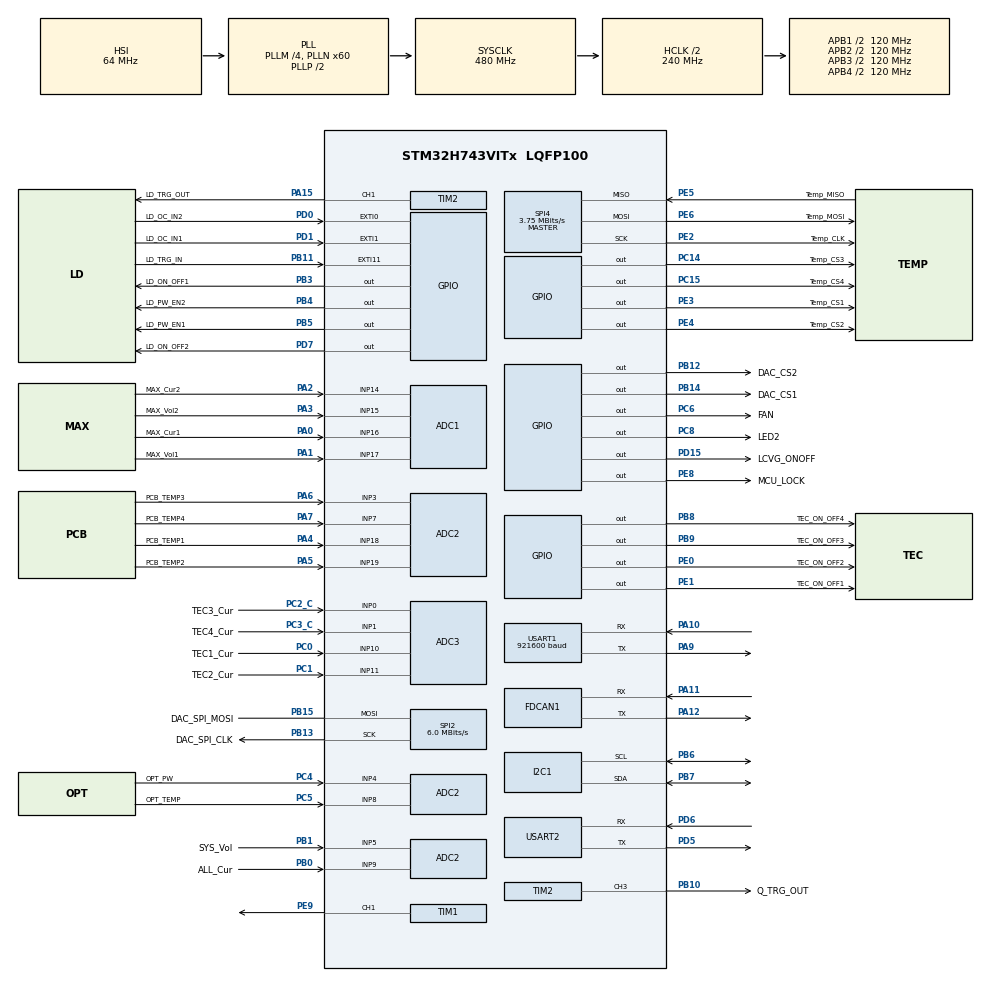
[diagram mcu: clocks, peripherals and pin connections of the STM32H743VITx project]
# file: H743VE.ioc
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ADC1.Channel-3\#ChannelRegularConversion=ADC_CHANNEL_16
ADC1.Channel-4\#ChannelRegularConversion=ADC_CHANNEL_17
ADC1.Channel-5\#ChannelRegularConversion=ADC_CHANNEL_14
ADC1.Channel-6\#ChannelRegularConversion=ADC_CHANNEL_15
ADC1.ClockPrescaler=ADC_CLOCK_ASYNC_DIV64
ADC1.ClockPrescalerADC3=ADC_CLOCK_ASYNC_DIV64
ADC1.ContinuousConvMode=ENABLE
ADC1.ConversionDataManagement=ADC_CONVERSIONDATA_DMA_CIRCULAR
ADC1.NbrOfConversion=4
ADC1.NbrOfConversionFlag=1
ADC1.OffsetNumber-3\#ChannelRegularConversion=ADC_OFFSET_NONE
ADC1.OffsetNumber-4\#ChannelRegularConversion=ADC_OFFSET_NONE
ADC1.OffsetNumber-5\#ChannelRegularConversion=ADC_OFFSET_NONE
ADC1.OffsetNumber-6\#ChannelRegularConversion=ADC_OFFSET_NONE
ADC1.OffsetSignedSaturation-3\#ChannelRegularConversion=DISABLE
ADC1.OffsetSignedSaturation-4\#ChannelRegularConversion=DISABLE
ADC1.OffsetSignedSaturation-5\#ChannelRegularConversion=DISABLE
ADC1.OffsetSignedSaturation-6\#ChannelRegularConversion=DISABLE
ADC1.Overrun=ADC_OVR_DATA_OVERWRITTEN
ADC1.Rank-3\#ChannelRegularConversion=1
ADC1.Rank-4\#ChannelRegularConversion=2
ADC1.Rank-5\#ChannelRegularConversion=3
ADC1.Rank-6\#ChannelRegularConversion=4
ADC1.SamplingTime-3\#ChannelRegularConversion=ADC_SAMPLETIME_387CYCLES_5
ADC1.SamplingTime-4\#ChannelRegularConversion=ADC_SAMPLETIME_387CYCLES_5
ADC1.SamplingTime-5\#ChannelRegularConversion=ADC_SAMPLETIME_387CYCLES_5
ADC1.SamplingTime-6\#ChannelRegularConversion=ADC_SAMPLETIME_387CYCLES_5
ADC1.master=1
ADC2.Channel-0\#ChannelRegularConversion=ADC_CHANNEL_18
ADC2.Channel-1\#ChannelRegularConversion=ADC_CHANNEL_19
ADC2.Channel-2\#ChannelRegularConversion=ADC_CHANNEL_3
ADC2.Channel-3\#ChannelRegularConversion=ADC_CHANNEL_7
ADC2.Channel-4\#ChannelRegularConversion=ADC_CHANNEL_4
ADC2.Channel-5\#ChannelRegularConversion=ADC_CHANNEL_8
ADC2.Channel-6\#ChannelRegularConversion=ADC_CHANNEL_9
ADC2.Channel-7\#ChannelRegularConversion=ADC_CHANNEL_5
ADC2.ClockPrescaler=ADC_CLOCK_ASYNC_DIV64
ADC2.ClockPrescalerADC3=ADC_CLOCK_ASYNC_DIV64
ADC2.ContinuousConvMode=ENABLE
ADC2.ConversionDataManagement=ADC_CONVERSIONDATA_DMA_CIRCULAR
ADC2.NbrOfConversion=8
ADC2.NbrOfConversionFlag=1
ADC2.OffsetNumber-0\#ChannelRegularConversion=ADC_OFFSET_NONE
ADC2.OffsetNumber-1\#ChannelRegularConversion=ADC_OFFSET_NONE
ADC2.OffsetNumber-2\#ChannelRegularConversion=ADC_OFFSET_NONE
ADC2.OffsetNumber-3\#ChannelRegularConversion=ADC_OFFSET_NONE
ADC2.OffsetNumber-4\#ChannelRegularConversion=ADC_OFFSET_NONE
ADC2.OffsetNumber-5\#ChannelRegularConversion=ADC_OFFSET_NONE
ADC2.OffsetNumber-6\#ChannelRegularConversion=ADC_OFFSET_NONE
ADC2.OffsetNumber-7\#ChannelRegularConversion=ADC_OFFSET_NONE
ADC2.OffsetSignedSaturation-0\#ChannelRegularConversion=DISABLE
ADC2.OffsetSignedSaturation-1\#ChannelRegularConversion=DISABLE
ADC2.OffsetSignedSaturation-2\#ChannelRegularConversion=DISABLE
ADC2.OffsetSignedSaturation-3\#ChannelRegularConversion=DISABLE
ADC2.OffsetSignedSaturation-4\#ChannelRegularConversion=DISABLE
ADC2.OffsetSignedSaturation-5\#ChannelRegularConversion=DISABLE
ADC2.OffsetSignedSaturation-6\#ChannelRegularConversion=DISABLE
ADC2.OffsetSignedSaturation-7\#ChannelRegularConversion=DISABLE
ADC2.Overrun=ADC_OVR_DATA_OVERWRITTEN
ADC2.Rank-0\#ChannelRegularConversion=1
ADC2.Rank-1\#ChannelRegularConversion=2
ADC2.Rank-2\#ChannelRegularConversion=3
ADC2.Rank-3\#ChannelRegularConversion=4
ADC2.Rank-4\#ChannelRegularConversion=5
ADC2.Rank-5\#ChannelRegularConversion=6
ADC2.Rank-6\#ChannelRegularConversion=7
ADC2.Rank-7\#ChannelRegularConversion=8
ADC2.SamplingTime-0\#ChannelRegularConversion=ADC_SAMPLETIME_387CYCLES_5
ADC2.SamplingTime-1\#ChannelRegularConversion=ADC_SAMPLETIME_387CYCLES_5
ADC2.SamplingTime-2\#ChannelRegularConversion=ADC_SAMPLETIME_387CYCLES_5
ADC2.SamplingTime-3\#ChannelRegularConversion=ADC_SAMPLETIME_387CYCLES_5
ADC2.SamplingTime-4\#ChannelRegularConversion=ADC_SAMPLETIME_387CYCLES_5
ADC2.SamplingTime-5\#ChannelRegularConversion=ADC_SAMPLETIME_387CYCLES_5
ADC2.SamplingTime-6\#ChannelRegularConversion=ADC_SAMPLETIME_387CYCLES_5
ADC2.SamplingTime-7\#ChannelRegularConversion=ADC_SAMPLETIME_387CYCLES_5
ADC3.Channel-0\#ChannelRegularConversion=ADC_CHANNEL_10
ADC3.Channel-1\#ChannelRegularConversion=ADC_CHANNEL_11
ADC3.Channel-2\#ChannelRegularConversion=ADC_CHANNEL_0
ADC3.Channel-3\#ChannelRegularConversion=ADC_CHANNEL_1
ADC3.ClockPrescaler=ADC_CLOCK_ASYNC_DIV64
ADC3.ClockPrescalerADC3=ADC_CLOCK_ASYNC_DIV64
ADC3.ContinuousConvMode=ENABLE
ADC3.ConversionDataManagement=ADC_CONVERSIONDATA_DMA_CIRCULAR
ADC3.NbrOfConversion=4
ADC3.NbrOfConversionFlag=1
ADC3.OffsetNumber-0\#ChannelRegularConversion=ADC_OFFSET_NONE
ADC3.OffsetNumber-1\#ChannelRegularConversion=ADC_OFFSET_NONE
ADC3.OffsetNumber-2\#ChannelRegularConversion=ADC_OFFSET_NONE
ADC3.OffsetNumber-3\#ChannelRegularConversion=ADC_OFFSET_NONE
ADC3.OffsetSignedSaturation-0\#ChannelRegularConversion=DISABLE
ADC3.OffsetSignedSaturation-1\#ChannelRegularConversion=DISABLE
ADC3.OffsetSignedSaturation-2\#ChannelRegularConversion=DISABLE
ADC3.OffsetSignedSaturation-3\#ChannelRegularConversion=DISABLE
ADC3.Overrun=ADC_OVR_DATA_OVERWRITTEN
ADC3.Rank-0\#ChannelRegularConversion=1
ADC3.Rank-1\#ChannelRegularConversion=2
ADC3.Rank-2\#ChannelRegularConversion=3
ADC3.Rank-3\#ChannelRegularConversion=4
ADC3.SamplingTime-0\#ChannelRegularConversion=ADC_SAMPLETIME_387CYCLES_5
ADC3.SamplingTime-1\#ChannelRegularConversion=ADC_SAMPLETIME_387CYCLES_5
ADC3.SamplingTime-2\#ChannelRegularConversion=ADC_SAMPLETIME_387CYCLES_5
ADC3.SamplingTime-3\#ChannelRegularConversion=ADC_SAMPLETIME_387CYCLES_5
CORTEX_M7.default_mode_Activation=1
Dma.ADC1.0.Direction=DMA_PERIPH_TO_MEMORY
Dma.ADC1.0.EventEnable=DISABLE
Dma.ADC1.0.FIFOMode=DMA_FIFOMODE_DISABLE
Dma.ADC1.0.Instance=DMA1_Stream0
Dma.ADC1.0.MemDataAlignment=DMA_MDATAALIGN_HALFWORD
Dma.ADC1.0.MemInc=DMA_MINC_ENABLE
Dma.ADC1.0.Mode=DMA_CIRCULAR
Dma.ADC1.0.PeriphDataAlignment=DMA_PDATAALIGN_HALFWORD
Dma.ADC1.0.PeriphInc=DMA_PINC_DISABLE
Dma.ADC1.0.Polarity=HAL_DMAMUX_REQ_GEN_RISING
Dma.ADC1.0.Priority=DMA_PRIORITY_LOW
Dma.ADC1.0.RequestNumber=1
Dma.ADC1.0.SignalID=NONE
Dma.ADC1.0.SyncEnable=DISABLE
Dma.ADC1.0.SyncPolarity=HAL_DMAMUX_SYNC_NO_EVENT
Dma.ADC1.0.SyncRequestNumber=1
Dma.ADC1.0.SyncSignalID=NONE
Dma.ADC2.1.Direction=DMA_PERIPH_TO_MEMORY
Dma.ADC2.1.EventEnable=DISABLE
Dma.ADC2.1.FIFOMode=DMA_FIFOMODE_DISABLE
Dma.ADC2.1.Instance=DMA1_Stream1
Dma.ADC2.1.MemDataAlignment=DMA_MDATAALIGN_HALFWORD
Dma.ADC2.1.MemInc=DMA_MINC_ENABLE
Dma.ADC2.1.Mode=DMA_CIRCULAR
Dma.ADC2.1.PeriphDataAlignment=DMA_PDATAALIGN_HALFWORD
Dma.ADC2.1.PeriphInc=DMA_PINC_DISABLE
Dma.ADC2.1.Polarity=HAL_DMAMUX_REQ_GEN_RISING
Dma.ADC2.1.Priority=DMA_PRIORITY_LOW
Dma.ADC2.1.RequestNumber=1
Dma.ADC2.1.SignalID=NONE
Dma.ADC2.1.SyncEnable=DISABLE
Dma.ADC2.1.SyncPolarity=HAL_DMAMUX_SYNC_NO_EVENT
Dma.ADC2.1.SyncRequestNumber=1
Dma.ADC2.1.SyncSignalID=NONE
Dma.ADC3.2.Direction=DMA_PERIPH_TO_MEMORY
Dma.ADC3.2.EventEnable=DISABLE
Dma.ADC3.2.FIFOMode=DMA_FIFOMODE_DISABLE
Dma.ADC3.2.Instance=DMA1_Stream2
Dma.ADC3.2.MemDataAlignment=DMA_MDATAALIGN_HALFWORD
Dma.ADC3.2.MemInc=DMA_MINC_ENABLE
Dma.ADC3.2.Mode=DMA_CIRCULAR
Dma.ADC3.2.PeriphDataAlignment=DMA_PDATAALIGN_HALFWORD
Dma.ADC3.2.PeriphInc=DMA_PINC_DISABLE
Dma.ADC3.2.Polarity=HAL_DMAMUX_REQ_GEN_RISING
Dma.ADC3.2.Priority=DMA_PRIORITY_LOW
Dma.ADC3.2.RequestNumber=1
Dma.ADC3.2.SignalID=NONE
Dma.ADC3.2.SyncEnable=DISABLE
Dma.ADC3.2.SyncPolarity=HAL_DMAMUX_SYNC_NO_EVENT
Dma.ADC3.2.SyncRequestNumber=1
Dma.ADC3.2.SyncSignalID=NONE
Dma.Request0=ADC1
Dma.Request1=ADC2
Dma.Request2=ADC3
Dma.Request3=USART1_RX
Dma.Request4=USART1_TX
Dma.Request5=TIM2_CH1
Dma.Request6=TIM2_CH3
Dma.TIM2_CH1.5.Direction=DMA_MEMORY_TO_PERIPH
Dma.TIM2_CH1.5.EventEnable=DISABLE
Dma.TIM2_CH1.5.FIFOMode=DMA_FIFOMODE_DISABLE
Dma.TIM2_CH1.5.Instance=DMA2_Stream2
Dma.TIM2_CH1.5.MemDataAlignment=DMA_MDATAALIGN_WORD
Dma.TIM2_CH1.5.MemInc=DMA_MINC_ENABLE
Dma.TIM2_CH1.5.Mode=DMA_NORMAL
Dma.TIM2_CH1.5.PeriphDataAlignment=DMA_PDATAALIGN_WORD
Dma.TIM2_CH1.5.PeriphInc=DMA_PINC_DISABLE
Dma.TIM2_CH1.5.Polarity=HAL_DMAMUX_REQ_GEN_RISING
Dma.TIM2_CH1.5.Priority=DMA_PRIORITY_LOW
Dma.TIM2_CH1.5.RequestNumber=1
Dma.TIM2_CH1.5.SignalID=NONE
Dma.TIM2_CH1.5.SyncEnable=DISABLE
Dma.TIM2_CH1.5.SyncPolarity=HAL_DMAMUX_SYNC_NO_EVENT
Dma.TIM2_CH1.5.SyncRequestNumber=1
Dma.TIM2_CH1.5.SyncSignalID=NONE
Dma.TIM2_CH3.6.Direction=DMA_MEMORY_TO_PERIPH
Dma.TIM2_CH3.6.EventEnable=DISABLE
Dma.TIM2_CH3.6.FIFOMode=DMA_FIFOMODE_DISABLE
Dma.TIM2_CH3.6.Instance=DMA2_Stream3
Dma.TIM2_CH3.6.MemDataAlignment=DMA_MDATAALIGN_WORD
Dma.TIM2_CH3.6.MemInc=DMA_MINC_ENABLE
Dma.TIM2_CH3.6.Mode=DMA_NORMAL
Dma.TIM2_CH3.6.PeriphDataAlignment=DMA_PDATAALIGN_WORD
Dma.TIM2_CH3.6.PeriphInc=DMA_PINC_DISABLE
Dma.TIM2_CH3.6.Polarity=HAL_DMAMUX_REQ_GEN_RISING
Dma.TIM2_CH3.6.Priority=DMA_PRIORITY_LOW
Dma.TIM2_CH3.6.RequestNumber=1
Dma.TIM2_CH3.6.SignalID=NONE
Dma.TIM2_CH3.6.SyncEnable=DISABLE
Dma.TIM2_CH3.6.SyncPolarity=HAL_DMAMUX_SYNC_NO_EVENT
Dma.TIM2_CH3.6.SyncRequestNumber=1
Dma.TIM2_CH3.6.SyncSignalID=NONE
Dma.USART1_RX.3.Direction=DMA_PERIPH_TO_MEMORY
Dma.USART1_RX.3.EventEnable=DISABLE
Dma.USART1_RX.3.FIFOMode=DMA_FIFOMODE_DISABLE
Dma.USART1_RX.3.Instance=DMA2_Stream0
Dma.USART1_RX.3.MemDataAlignment=DMA_MDATAALIGN_BYTE
Dma.USART1_RX.3.MemInc=DMA_MINC_ENABLE
Dma.USART1_RX.3.Mode=DMA_NORMAL
Dma.USART1_RX.3.PeriphDataAlignment=DMA_PDATAALIGN_BYTE
Dma.USART1_RX.3.PeriphInc=DMA_PINC_DISABLE
Dma.USART1_RX.3.Polarity=HAL_DMAMUX_REQ_GEN_RISING
Dma.USART1_RX.3.Priority=DMA_PRIORITY_LOW
Dma.USART1_RX.3.RequestNumber=1
Dma.USART1_RX.3.SignalID=NONE
Dma.USART1_RX.3.SyncEnable=DISABLE
Dma.USART1_RX.3.SyncPolarity=HAL_DMAMUX_SYNC_NO_EVENT
Dma.USART1_RX.3.SyncRequestNumber=1
Dma.USART1_RX.3.SyncSignalID=NONE
Dma.USART1_TX.4.Direction=DMA_MEMORY_TO_PERIPH
Dma.USART1_TX.4.EventEnable=DISABLE
Dma.USART1_TX.4.FIFOMode=DMA_FIFOMODE_DISABLE
Dma.USART1_TX.4.Instance=DMA2_Stream1
Dma.USART1_TX.4.MemDataAlignment=DMA_MDATAALIGN_BYTE
Dma.USART1_TX.4.MemInc=DMA_MINC_ENABLE
Dma.USART1_TX.4.Mode=DMA_NORMAL
Dma.USART1_TX.4.PeriphDataAlignment=DMA_PDATAALIGN_BYTE
Dma.USART1_TX.4.PeriphInc=DMA_PINC_DISABLE
Dma.USART1_TX.4.Polarity=HAL_DMAMUX_REQ_GEN_RISING
Dma.USART1_TX.4.Priority=DMA_PRIORITY_LOW
Dma.USART1_TX.4.RequestNumber=1
Dma.USART1_TX.4.SignalID=NONE
Dma.USART1_TX.4.SyncEnable=DISABLE
Dma.USART1_TX.4.SyncPolarity=HAL_DMAMUX_SYNC_NO_EVENT
Dma.USART1_TX.4.SyncRequestNumber=1
Dma.USART1_TX.4.SyncSignalID=NONE
FDCAN1.CalculateBaudRateNominal=125000
FDCAN1.CalculateTimeBitNominal=8000
FDCAN1.CalculateTimeQuantumNominal=250.0
FDCAN1.DataPrescaler=20
FDCAN1.DataSyncJumpWidth=4
FDCAN1.DataTimeSeg1=27
FDCAN1.DataTimeSeg2=4
FDCAN1.NominalPrescaler=20
FDCAN1.NominalSyncJumpWidth=4
FDCAN1.NominalTimeSeg1=27
FDCAN1.NominalTimeSeg2=4
FDCAN1.RxFifo0ElmtsNbr=2
FDCAN1.StdFiltersNbr=1
FDCAN1.TxFifoQueueElmtsNbr=2
FREERTOS.Mutexes01=myMutex01,Dynamic,NULL,Available;myMutex02,Dynamic,NULL,Available
FREERTOS.Tasks01=defaultTask,24,128,StartDefaultTask,Default,NULL,Dynamic,NULL,NULL;myTask02,24,128,StartTask02,Default,NULL,Dynamic,NULL,NULL;myTask03,24,128,StartTask03,Default,NULL,Dynamic,NULL,NULL
I2C1.Speed=50
I2C1.Timing=0x70303AEE
Mcu.Family=STM32H7
Mcu.Name=STM32H743VITx
Mcu.Package=LQFP100
NVIC.ADC3_IRQn=true\:5\:0\:false\:false\:true\:true\:true\:true\:true
NVIC.ADC_IRQn=true\:5\:0\:false\:false\:true\:true\:true\:true\:true
NVIC.DMA1_Stream0_IRQn=true\:5\:0\:false\:false\:true\:true\:false\:true\:true
NVIC.DMA1_Stream1_IRQn=true\:5\:0\:false\:false\:true\:true\:false\:true\:true
NVIC.DMA1_Stream2_IRQn=true\:5\:0\:false\:false\:true\:true\:false\:true\:true
NVIC.DMA2_Stream0_IRQn=true\:5\:0\:false\:false\:true\:false\:false\:true\:true
NVIC.DMA2_Stream1_IRQn=true\:5\:0\:false\:false\:true\:false\:false\:true\:true
NVIC.DMA2_Stream2_IRQn=true\:5\:0\:false\:false\:true\:false\:false\:true\:true
NVIC.DMA2_Stream3_IRQn=true\:5\:0\:false\:false\:true\:false\:false\:true\:true
NVIC.EXTI0_IRQn=true\:5\:0\:false\:false\:true\:true\:true\:true\:true
NVIC.EXTI15_10_IRQn=true\:5\:0\:false\:false\:true\:true\:true\:true\:true
NVIC.EXTI1_IRQn=true\:5\:0\:false\:false\:true\:true\:true\:true\:true
NVIC.FDCAN1_IT0_IRQn=true\:5\:0\:false\:false\:true\:true\:true\:true\:true
NVIC.PriorityGroup=NVIC_PRIORITYGROUP_4
NVIC.TIM2_IRQn=true\:5\:0\:false\:false\:true\:true\:true\:true\:true
NVIC.TIM3_IRQn=true\:5\:0\:false\:false\:true\:true\:true\:true\:true
NVIC.TIM4_IRQn=true\:5\:0\:false\:false\:true\:true\:true\:true\:true
NVIC.TIM6_DAC_IRQn=true\:15\:0\:false\:false\:true\:false\:false\:true\:true
NVIC.TimeBase=TIM6_DAC_IRQn
NVIC.TimeBaseIP=TIM6
NVIC.USART1_IRQn=true\:5\:0\:false\:false\:true\:true\:true\:true\:true
PA0.GPIO_Label=MAX_Cur1
PA0.Mode=IN16-Single-Ended
PA0.Signal=ADC1_INP16
PA1.GPIO_Label=MAX_Vol1
PA1.Mode=IN17-Single-Ended
PA1.Signal=ADC1_INP17
PA10.Mode=Asynchronous
PA10.Signal=USART1_RX
PA11.Mode=FDCAN_Activate
PA11.Signal=FDCAN1_RX
PA12.Mode=FDCAN_Activate
PA12.Signal=FDCAN1_TX
PA13\ (JTMS/SWDIO).Mode=Serial_Wire
PA13\ (JTMS/SWDIO).Signal=DEBUG_JTMS-SWDIO
PA14\ (JTCK/SWCLK).Mode=Serial_Wire
PA14\ (JTCK/SWCLK).Signal=DEBUG_JTCK-SWCLK
PA15\ (JTDI).GPIO_Label=LD_TRG_OUT
PA15\ (JTDI).GPIO_PuPd=GPIO_PULLDOWN
PA15\ (JTDI).GPIO_Speed=GPIO_SPEED_FREQ_HIGH
PA15\ (JTDI).Signal=S_TIM2_CH1_ETR
PA2.GPIO_Label=MAX_Cur2
PA2.Signal=ADCx_INP14
PA3.GPIO_Label=MAX_Vol2
PA3.Signal=ADCx_INP15
PA4.GPIO_Label=PCB_TEMP1
PA4.Signal=ADCx_INP18
PA5.GPIO_Label=PCB_TEMP2
PA5.Signal=ADCx_INP19
PA6.GPIO_Label=PCB_TEMP3
PA6.Signal=ADCx_INP3
PA7.GPIO_Label=PCB_TEMP4
PA7.Signal=ADCx_INP7
PA9.Mode=Asynchronous
PA9.Signal=USART1_TX
PB0.GPIO_Label=ALL_Cur
PB0.Signal=ADCx_INP9
PB1.GPIO_Label=SYS_Vol
PB1.Signal=ADCx_INP5
PB10.GPIO_Label=Q_TRG_OUT
PB10.GPIO_PuPd=GPIO_PULLDOWN
PB10.GPIO_Speed=GPIO_SPEED_FREQ_HIGH
PB10.Signal=S_TIM2_CH3
PB11.GPIO_Label=LD_TRG_IN
PB11.Signal=GPXTI11
PB12.GPIO_Label=DAC_CS2
PB12.Signal=GPIO_Output
PB13.GPIO_Label=DAC_SPI_CLK
PB13.Mode=Simplex_Bidirectional_Master
PB13.Signal=SPI2_SCK
PB14.GPIO_Label=DAC_CS1
PB14.Signal=GPIO_Output
PB15.GPIO_Label=DAC_SPI_MOSI
PB15.Mode=Simplex_Bidirectional_Master
PB15.Signal=SPI2_MOSI
PB3\ (JTDO/TRACESWO).GPIO_Label=LD_ON_OFF1
PB3\ (JTDO/TRACESWO).Signal=GPIO_Output
PB4\ (NJTRST).GPIO_Label=LD_PW_EN2
PB4\ (NJTRST).Signal=GPIO_Output
PB5.GPIO_Label=LD_PW_EN1
PB5.Signal=GPIO_Output
PB6.Mode=I2C
PB6.Signal=I2C1_SCL
PB7.Mode=I2C
PB7.Signal=I2C1_SDA
PB8.GPIO_Label=TEC_ON_OFF4
PB8.Signal=GPIO_Output
PB9.GPIO_Label=TEC_ON_OFF3
PB9.Signal=GPIO_Output
PC0.GPIO_Label=TEC1_Cur
PC0.Signal=ADCx_INP10
PC1.GPIO_Label=TEC2_Cur
PC1.Signal=ADCx_INP11
PC14-OSC32_IN\ (OSC32_IN).GPIO_Label=Temp_CS3
PC14-OSC32_IN\ (OSC32_IN).Signal=GPIO_Output
PC15-OSC32_OUT\ (OSC32_OUT).GPIO_Label=Temp_CS4
PC15-OSC32_OUT\ (OSC32_OUT).Signal=GPIO_Output
PC2_C.GPIO_Label=TEC3_Cur
PC2_C.Mode=IN0-Single-Ended
PC2_C.Signal=ADC3_INP0
PC3_C.GPIO_Label=TEC4_Cur
PC3_C.Mode=IN1-Single-Ended
PC3_C.Signal=ADC3_INP1
PC4.GPIO_Label=OPT_PW
PC4.Signal=ADCx_INP4
PC5.GPIO_Label=OPT_TEMP
PC5.Signal=ADCx_INP8
PC6.GPIO_Label=FAN
PC6.GPIO_PuPd=GPIO_PULLUP
PC6.Signal=GPIO_Output
PC8.GPIO_Label=LED2
PC8.Signal=GPIO_Output
PD0.GPIO_Label=LD_OC_IN2
PD0.Signal=GPXTI0
PD1.GPIO_Label=LD_OC_IN1
PD1.Signal=GPXTI1
PD15.GPIO_Label=LCVG_ONOFF
PD15.Signal=GPIO_Output
PD5.Mode=Asynchronous
PD5.Signal=USART2_TX
PD6.Mode=Asynchronous
PD6.Signal=USART2_RX
PD7.GPIO_Label=LD_ON_OFF2
PD7.Signal=GPIO_Output
PE0.GPIO_Label=TEC_ON_OFF2
PE0.Signal=GPIO_Output
PE1.GPIO_Label=TEC_ON_OFF1
PE1.Signal=GPIO_Output
PE2.GPIO_Label=Temp_CLK
PE2.Mode=Full_Duplex_Master
PE2.Signal=SPI4_SCK
PE3.GPIO_Label=Temp_CS1
PE3.Signal=GPIO_Output
PE4.GPIO_Label=Temp_CS2
PE4.Signal=GPIO_Output
PE5.GPIO_Label=Temp_MISO
PE5.Mode=Full_Duplex_Master
PE5.Signal=SPI4_MISO
PE6.GPIO_Label=Temp_MOSI
PE6.Mode=Full_Duplex_Master
PE6.Signal=SPI4_MOSI
PE8.GPIO_Label=MCU_LOCK
PE8.Signal=GPIO_Output
PE9.Signal=S_TIM1_CH1
PH0-OSC_IN\ (PH0).Mode=HSE-External-Oscillator
PH0-OSC_IN\ (PH0).Signal=RCC_OSC_IN
PH1-OSC_OUT\ (PH1).Mode=HSE-External-Oscillator
PH1-OSC_OUT\ (PH1).Signal=RCC_OSC_OUT
ProjectManager.HeapSize=0x200
ProjectManager.StackSize=0x400
ProjectManager.TargetToolchain=MDK-ARM V5
RCC.ADCFreq_Value=80000000
RCC.APB1Freq_Value=120000000
RCC.APB2Freq_Value=120000000
RCC.APB3Freq_Value=120000000
RCC.APB4Freq_Value=120000000
RCC.CortexFreq_Value=480000000
RCC.D1PPRE=RCC_APB3_DIV2
RCC.D2PPRE1=RCC_APB1_DIV2
RCC.D2PPRE2=RCC_APB2_DIV2
RCC.D3PPRE=RCC_APB4_DIV2
RCC.DIVM1=4
RCC.DIVM2=4
RCC.DIVN1=60
RCC.DIVN2=10
RCC.DIVQ1=5
RCC.FDCANCLockSelection=RCC_FDCANCLKSOURCE_PLL2
RCC.HCLKFreq_Value=240000000
RCC.HPRE=RCC_HCLK_DIV2
RCC.PLL2FRACN=0
RCC.PLL3FRACN=0
RCC.PLLFRACN=0
RCC.SYSCLKFreq_VALUE=480000000
RCC.SYSCLKSource=RCC_SYSCLKSOURCE_PLLCLK
RCC.USBFreq_Value=192000000
SH.ADCx_INP10.0=ADC3_INP10,IN10-Single-Ended
SH.ADCx_INP11.0=ADC3_INP11,IN11-Single-Ended
SH.ADCx_INP14.0=ADC1_INP14,IN14-Single-Ended
SH.ADCx_INP15.0=ADC1_INP15,IN15-Single-Ended
SH.ADCx_INP18.0=ADC2_INP18,IN18-Single-Ended
SH.ADCx_INP19.0=ADC2_INP19,IN19-Single-Ended
SH.ADCx_INP3.0=ADC2_INP3,IN3-Single-Ended
SH.ADCx_INP4.0=ADC2_INP4,IN4-Single-Ended
SH.ADCx_INP5.0=ADC2_INP5,IN5-Single-Ended
SH.ADCx_INP7.0=ADC2_INP7,IN7-Single-Ended
SH.ADCx_INP8.0=ADC2_INP8,IN8-Single-Ended
SH.ADCx_INP9.0=ADC2_INP9,IN9-Single-Ended
SH.S_TIM1_CH1.0=TIM1_CH1,PWM Generation1 CH1
SH.S_TIM2_CH1_ETR.0=TIM2_CH1,Output Compare1 CH1
SH.S_TIM2_CH3.0=TIM2_CH3,Output Compare3 CH3
SPI2.BaudRatePrescaler=SPI_BAUDRATEPRESCALER_32
SPI2.CLKPhase=SPI_PHASE_1EDGE
SPI2.CLKPolarity=SPI_POLARITY_HIGH
SPI2.CalculateBaudRate=6.0 MBits/s
SPI2.DataSize=SPI_DATASIZE_8BIT
SPI2.Direction=SPI_DIRECTION_1LINE
SPI2.Mode=SPI_MODE_MASTER
SPI2.VirtualType=VM_MASTER
SPI4.BaudRatePrescaler=SPI_BAUDRATEPRESCALER_32
SPI4.CLKPhase=SPI_PHASE_2EDGE
SPI4.CLKPolarity=SPI_POLARITY_HIGH
SPI4.CalculateBaudRate=3.75 MBits/s
SPI4.DataSize=SPI_DATASIZE_8BIT
SPI4.Direction=SPI_DIRECTION_2LINES
SPI4.Mode=SPI_MODE_MASTER
SPI4.VirtualType=VM_MASTER
TIM1.Channel-PWM\ Generation1\ CH1=TIM_CHANNEL_1
TIM1.Prescaler=239
TIM2.Channel-Output\ Compare1\ CH1=TIM_CHANNEL_1
TIM2.Channel-Output\ Compare3\ CH3=TIM_CHANNEL_3
TIM2.OC1Preload=DISABLE
TIM2.OCMode_1=TIM_OCMODE_TOGGLE
TIM2.OCMode_3=TIM_OCMODE_TOGGLE
TIM2.OCPolarity_1=TIM_OCPOLARITY_LOW
TIM2.OCPolarity_3=TIM_OCPOLARITY_LOW
TIM2.Prescaler=23
TIM3.Channel-Output\ Compare1\ No\ Output=TIM_CHANNEL_1
TIM3.OCPolarity_1=TIM_OCPOLARITY_LOW
TIM3.Period=65535
TIM3.Prescaler=239
TIM4.Channel-Output\ Compare1\ No\ Output=TIM_CHANNEL_1
TIM4.Channel-Output\ Compare2\ No\ Output=TIM_CHANNEL_2
TIM4.Prescaler=239
USART1.BaudRate=921600
USART1.Parity=PARITY_EVEN
USART1.StopBits=STOPBITS_2
USART1.VirtualMode-Asynchronous=VM_ASYNC
USART1.WordLength=WORDLENGTH_9B
USART2.VirtualMode-Asynchronous=VM_ASYNC
VP_FREERTOS_VS_CMSIS_V2.Mode=CMSIS_V2
VP_MEMORYMAP_VS_MEMORYMAP.Mode=CurAppReg
VP_SYS_VS_tim6.Mode=TIM6
VP_TIM3_VS_no_output1.Mode=Output Compare1 No Output
VP_TIM4_VS_no_output1.Mode=Output Compare1 No Output
VP_TIM4_VS_no_output2.Mode=Output Compare2 No Output
board=custom

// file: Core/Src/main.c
/* USER CODE BEGIN Header */
/**
  ******************************************************************************
  * @file           : main.c
  * @brief          : Main program body
  ******************************************************************************
  * @attention
  *
  * Copyright (c) 2025 STMicroelectronics.
  * All rights reserved.
  *
  * This software is licensed under terms that can be found in the LICENSE file
  * in the root directory of this software component.
  * If no LICENSE file comes with this software, it is provided AS-IS.
  *
  ******************************************************************************
  */
/* USER CODE END Header */
#include "main.h"
#include "cmsis_os.h"
#include "adc.h"
#include "dma.h"
#include "fdcan.h"
#include "i2c.h"
#include "memorymap.h"
#include "spi.h"
#include "tim.h"
#include "usart.h"
#include "gpio.h"

/* USER CODE BEGIN Includes */
#include "stdio.h"
#include "string.h"
#include "global_cfg.h"
#include "flash.h"
#include "stdarg.h"

/* USER CODE END Includes */

/* USER CODE BEGIN PV */

mem_cfg_t mem_cfg = {

    .bootloader_address = BL_ADDR,
    .app1_address = APP1_ADDR,
    .app2_address = APP2_ADDR,
    .cfg_address = CFG_ADDR,
};
mem_cfg_t mem_cfg_mirror;
cli_para_t cli_para;
running_flag_t running_flag;

set_param_t set_param;
measure_param_t measure_param;
Work_Status_t Work_Status;

/* USER CODE END PV */

void SystemClock_Config(void);
void PeriphCommonClock_Config(void);
static void MPU_Config(void);
void MX_FREERTOS_Init(void);

int main(void)
{

  /* USER CODE BEGIN 1 */
  __set_PRIMASK(0); // 开总中断  1关闭总中断
  read_cfg();
  memcpy(&mem_cfg_mirror, &mem_cfg, sizeof(mem_cfg));
  SCB->VTOR = FLASH_BASE | mem_cfg.current_app_address;
  /* USER CODE END 1 */

  /* MPU Configuration--------------------------------------------------------*/
  MPU_Config();

  /* MCU Configuration--------------------------------------------------------*/

  /* Reset of all peripherals, Initializes the Flash interface and the Systick. */
  HAL_Init();

  /* Configure the system clock */
  SystemClock_Config();

  /* Configure the peripherals common clocks */
  PeriphCommonClock_Config();

  /* Initialize all configured peripherals */
  MX_GPIO_Init();
  MX_DMA_Init();
  MX_USART1_UART_Init();
  MX_FDCAN1_Init();
  MX_ADC1_Init();
  MX_SPI2_Init();
  MX_SPI4_Init();
  MX_TIM1_Init();
  MX_TIM3_Init();
  MX_USART2_UART_Init();
  MX_ADC2_Init();
  MX_I2C1_Init();
  MX_ADC3_Init();
  MX_TIM2_Init();
  MX_TIM4_Init();
  /* USER CODE BEGIN 2 */
  // __HAL_UART_ENABLE_IT(&huart1, UART_IT_IDLE);

  /* USER CODE END 2 */

  /* Init scheduler */
  osKernelInitialize();

  /* Call init function for freertos objects (in cmsis_os2.c) */
  MX_FREERTOS_Init();

  /* Start scheduler */
  osKernelStart();

  /* We should never get here as control is now taken by the scheduler */

  /* Infinite loop */
  while (1)
  {

  }
}

void SystemClock_Config(void)
{
  RCC_OscInitTypeDef RCC_OscInitStruct = {0};
  RCC_ClkInitTypeDef RCC_ClkInitStruct = {0};

  /** Supply configuration update enable
  */
  HAL_PWREx_ConfigSupply(PWR_LDO_SUPPLY);

  /** Configure the main internal regulator output voltage
  */
  __HAL_PWR_VOLTAGESCALING_CONFIG(PWR_REGULATOR_VOLTAGE_SCALE0);

  while(!__HAL_PWR_GET_FLAG(PWR_FLAG_VOSRDY)) {}

  /** Initializes the RCC Oscillators according to the specified parameters
  * in the RCC_OscInitTypeDef structure.
  */
  RCC_OscInitStruct.OscillatorType = RCC_OSCILLATORTYPE_HSI;
  RCC_OscInitStruct.HSIState = RCC_HSI_DIV1;
  RCC_OscInitStruct.HSICalibrationValue = RCC_HSICALIBRATION_DEFAULT;
  RCC_OscInitStruct.PLL.PLLState = RCC_PLL_ON;
  RCC_OscInitStruct.PLL.PLLSource = RCC_PLLSOURCE_HSI;
  RCC_OscInitStruct.PLL.PLLM = 4;
  RCC_OscInitStruct.PLL.PLLN = 60;
  RCC_OscInitStruct.PLL.PLLP = 2;
  RCC_OscInitStruct.PLL.PLLQ = 5;
  RCC_OscInitStruct.PLL.PLLR = 2;
  RCC_OscInitStruct.PLL.PLLRGE = RCC_PLL1VCIRANGE_3;
  RCC_OscInitStruct.PLL.PLLVCOSEL = RCC_PLL1VCOWIDE;
  RCC_OscInitStruct.PLL.PLLFRACN = 0;
  if (HAL_RCC_OscConfig(&RCC_OscInitStruct) != HAL_OK)
  {
    Error_Handler();
  }

  /** Initializes the CPU, AHB and APB buses clocks
  */
  RCC_ClkInitStruct.ClockType = RCC_CLOCKTYPE_HCLK|RCC_CLOCKTYPE_SYSCLK
                              |RCC_CLOCKTYPE_PCLK1|RCC_CLOCKTYPE_PCLK2
                              |RCC_CLOCKTYPE_D3PCLK1|RCC_CLOCKTYPE_D1PCLK1;
  RCC_ClkInitStruct.SYSCLKSource = RCC_SYSCLKSOURCE_PLLCLK;
  RCC_ClkInitStruct.SYSCLKDivider = RCC_SYSCLK_DIV1;
  RCC_ClkInitStruct.AHBCLKDivider = RCC_HCLK_DIV2;
  RCC_ClkInitStruct.APB3CLKDivider = RCC_APB3_DIV2;
  RCC_ClkInitStruct.APB1CLKDivider = RCC_APB1_DIV2;
  RCC_ClkInitStruct.APB2CLKDivider = RCC_APB2_DIV2;
  RCC_ClkInitStruct.APB4CLKDivider = RCC_APB4_DIV2;

  if (HAL_RCC_ClockConfig(&RCC_ClkInitStruct, FLASH_LATENCY_4) != HAL_OK)
  {
    Error_Handler();
  }
}

void PeriphCommonClock_Config(void)
{
  RCC_PeriphCLKInitTypeDef PeriphClkInitStruct = {0};

  /** Initializes the peripherals clock
  */
  PeriphClkInitStruct.PeriphClockSelection = RCC_PERIPHCLK_ADC|RCC_PERIPHCLK_FDCAN;
  PeriphClkInitStruct.PLL2.PLL2M = 4;
  PeriphClkInitStruct.PLL2.PLL2N = 10;
  PeriphClkInitStruct.PLL2.PLL2P = 2;
  PeriphClkInitStruct.PLL2.PLL2Q = 2;
  PeriphClkInitStruct.PLL2.PLL2R = 2;
  PeriphClkInitStruct.PLL2.PLL2RGE = RCC_PLL2VCIRANGE_3;
  PeriphClkInitStruct.PLL2.PLL2VCOSEL = RCC_PLL2VCOMEDIUM;
  PeriphClkInitStruct.PLL2.PLL2FRACN = 0;
  PeriphClkInitStruct.FdcanClockSelection = RCC_FDCANCLKSOURCE_PLL2;
  PeriphClkInitStruct.AdcClockSelection = RCC_ADCCLKSOURCE_PLL2;
  if (HAL_RCCEx_PeriphCLKConfig(&PeriphClkInitStruct) != HAL_OK)
  {
    Error_Handler();
  }
}

 /* MPU Configuration */

void MPU_Config(void)
{
  MPU_Region_InitTypeDef MPU_InitStruct = {0};

  /* Disables the MPU */
  HAL_MPU_Disable();

  /** Initializes and configures the Region and the memory to be protected
  */
  MPU_InitStruct.Enable = MPU_REGION_ENABLE;
  MPU_InitStruct.Number = MPU_REGION_NUMBER0;
  MPU_InitStruct.BaseAddress = 0x0;
  MPU_InitStruct.Size = MPU_REGION_SIZE_4GB;
  MPU_InitStruct.SubRegionDisable = 0x87;
  MPU_InitStruct.TypeExtField = MPU_TEX_LEVEL0;
  MPU_InitStruct.AccessPermission = MPU_REGION_NO_ACCESS;
  MPU_InitStruct.DisableExec = MPU_INSTRUCTION_ACCESS_DISABLE;
  MPU_InitStruct.IsShareable = MPU_ACCESS_SHAREABLE;
  MPU_InitStruct.IsCacheable = MPU_ACCESS_NOT_CACHEABLE;
  MPU_InitStruct.IsBufferable = MPU_ACCESS_NOT_BUFFERABLE;

  HAL_MPU_ConfigRegion(&MPU_InitStruct);
  /* Enables the MPU */
  HAL_MPU_Enable(MPU_PRIVILEGED_DEFAULT);

}

void HAL_TIM_PeriodElapsedCallback(TIM_HandleTypeDef *htim)
{
  if (htim->Instance == TIM6)
  {
    HAL_IncTick();
  }
  /* USER CODE BEGIN Callback 1 */
  if (htim->Instance == htim2.Instance)
  {
      pulse_reconfig();
  }

  /* USER CODE END Callback 1 */
}

void Error_Handler(void)
{
  __disable_irq();
  while (1)
  {
  }
}
